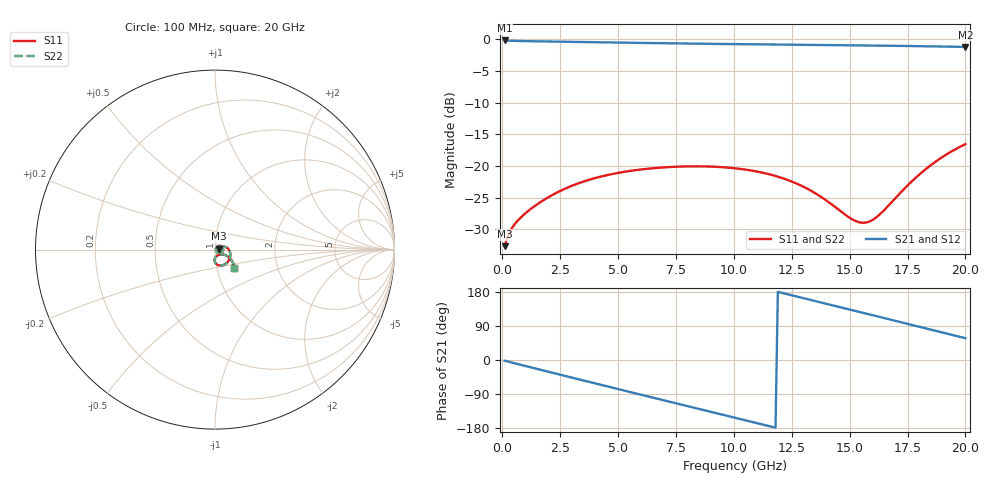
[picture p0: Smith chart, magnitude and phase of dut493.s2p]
! Touchstone file exported from HFSS 2026.1.0
!  File:  C:/ffzhzh/LocalFiles/Ansys_Project_Files/temp_train_TSV_RDL_493_1783106160_37876.aedt
!  Generated:  03:27:10 AM Jul  4, 2026
!  Design:  TSV_RDL
!  Project:  temp_train_TSV_RDL_493_1783106160_37876
! Variables:
!  h_bsmrdl = 2.21um
!  h_ox = 20um
!  h_rdl = 5um
!  h_sub = 87.95um
!  h_tmrdl = 4.59um
!  h_tsv = 87.95um
!  h_via = 3um
!  l_bsmrdl = 436.65um
!  l_sub = 4952.98um
!  l_tmrdl = 775.95um
!  m_sub = 200um
!  pitch = 30.69um
!  r_tsv = 6.77um
!  s_tmrdl = 10um
!  w_bsmrdl = 19.49um
!  w_sub = 500um
!  w_tmrdl = 26.92um
!  x_tsv_center1 = 789.41um
!  x_tsv_center2 = 1245.55um
!  x_tsv_center3 = 2048.42um
!  x_tsv_center4 = 2504.56um
!  x_tsv_center5 = 3307.43um
!  x_tsv_center6 = 3763.57um
# GHz S MA R 50.000000
! Terminal data exported
! Port[1] = TM_RDL1_1_T1
! Port[2] = TM_RDL5_1_T1
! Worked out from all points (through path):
!   200 points, 100 MHz to 20 GHz, reference 50 ohm
!   highest |S21| = -0.20 dB at 100 MHz (marker M1); lowest = -1.2 dB at 20 GHz (marker M2)
!   group delay of S21, straight-line fit = 41.8 ps
!   lowest |S11| = -32.7 dB at 100 MHz (marker M3), VSWR 1.05, Z = 52.3 + j0.519 ohm
!   |S11| at or under -10 dB: start of sweep to end of sweep
!   |S22| runs from -32.7 to -16.6 dB; largest |S21 - S12| = 3e-14
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0.1  0.02322 12.3  0.9775 -1.8  0.9775 -1.8  0.02322 12.3
! Gamma 0 0 0 0
! Port Impedance 50 0 50 0
0.4  0.03188 20.6  0.9715 -6.6  0.9715 -6.6  0.03188 20.6
1.1  0.04378 21.1  0.965 -17.4  0.965 -17.4  0.04377 21.1
2.2  0.05939 14.7  0.958 -34.2  0.958 -34.2  0.05939 14.8
3.5  0.07511 1.8  0.9497 -54.0  0.9497 -54.0  0.07512 1.9
4.4  0.0835 -8.2  0.944 -67.7  0.944 -67.7  0.08351 -8.2
5.2  0.08928 -17.2  0.9391 -79.7  0.9391 -79.7  0.0893 -17.2
6  0.09365 -26.0  0.9345 -91.8  0.9345 -91.8  0.09368 -26.0
6.8  0.09674 -34.6  0.9301 -103.8  0.9301 -103.8  0.09677 -34.6
8.3  0.09918 -50.1  0.9225 -126.3  0.9225 -126.3  0.09923 -50.1
10.1  0.09545 -67.8  0.9143 -153.2  0.9143 -153.2  0.09552 -67.8
11  0.09016 -76.0  0.9105 -166.7  0.9105 -166.7  0.09024 -76.0
11.8  0.08317 -82.8  0.9073 -178.7  0.9073 -178.7  0.08326 -82.8
13.4  0.0626 -91.8  0.9013 157.3  0.9013 157.3  0.06268 -91.9
14.4  0.04694 -89.2  0.8976 142.3  0.8976 142.3  0.04698 -89.3
15.5  0.0356 -65.9  0.8933 125.7  0.8933 125.7  0.03553 -66.1
16  0.03749 -49.5  0.8912 118.1  0.8912 118.1  0.03736 -49.6
16.7  0.049 -33.5  0.8881 107.5  0.8881 107.5  0.04883 -33.5
17.5  0.06993 -27.9  0.8841 95.4  0.8841 95.4  0.06975 -27.8
18.3  0.09459 -29.8  0.8796 83.3  0.8796 83.3  0.09442 -29.7
19.1  0.1204 -35.4  0.8746 71.2  0.8746 71.2  0.1202 -35.2
20  0.1484 -43.8  0.8686 57.5  0.8686 57.5  0.1483 -43.6
